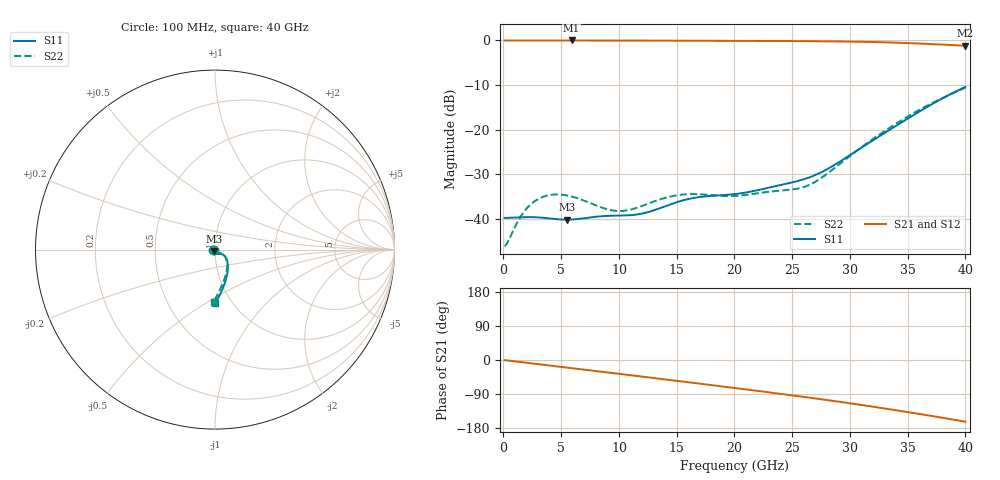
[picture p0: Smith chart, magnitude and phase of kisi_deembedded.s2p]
! B_ts6_L1L6: kisi-fdtd, de-embedded with the 2×thru
# Hz S RI R 50
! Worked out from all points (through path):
!   400 points, 100 MHz to 40 GHz, reference 50 ohm
!   highest |S21| = -0.11 dB at 5.9 GHz (marker M1); lowest = -1.3 dB at 40 GHz (marker M2)
!   group delay of S21, straight-line fit = 11.1 ps
!   lowest |S11| = -40.1 dB at 5.5 GHz (marker M3), VSWR 1.02, Z = 49.6 - j0.887 ohm
!   |S11| at or under -10 dB: start of sweep to end of sweep
!   |S22| runs from -46.0 to -10.6 dB; largest |S21 - S12| = 4.4e-06
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1e8  -0.0104 -0.000241  0.9872 -0.00624  0.9872 -0.00624  -0.00498 -0.000563
4e8  -0.0103 -0.000959  0.9869 -0.0249  0.9869 -0.0249  -0.00519 -0.00223
1.5e9  -0.00994 -0.00345  0.9829 -0.0934  0.9829 -0.0934  -0.00788 -0.00734
2.5e9  -0.00911 -0.00534  0.9751 -0.1554  0.9751 -0.1554  -0.0118 -0.00953
3.9e9  -0.00715 -0.00733  0.9576 -0.2413  0.9576 -0.2413  -0.0165 -0.00835
5.5e9  -0.00422 -0.00894  0.9283 -0.3372  0.9283 -0.3372  -0.018 -0.00396
5.9e9  -0.00351 -0.00928  0.9195 -0.3608  0.9195 -0.3608  -0.0177 -0.00288
6.8e9  -0.00215 -0.00994  0.8972 -0.4129  0.8972 -0.4129  -0.0164 -0.000932
8.8e9  -0.00114 -0.0108  0.8366 -0.5237  0.8366 -0.5237  -0.0131 0.000214
1e10  -0.00219 -0.0108  0.7933 -0.586  0.7933 -0.586  -0.0123 -0.000802
1.18e10  -0.00571 -0.00989  0.7195 -0.6726  0.7195 -0.6726  -0.0134 -0.00315
1.34e10  -0.00976 -0.00872  0.646 -0.742  0.646 -0.742  -0.0156 -0.00502
1.59e10  -0.0146 -0.00801  0.5172 -0.8354  0.5172 -0.8354  -0.0175 -0.00746
2.01e10  -0.0117 -0.0151  0.267 -0.9422  0.267 -0.9422  -0.0101 -0.0151
2.27e10  -0.00329 -0.0219  0.0979 -0.9709  0.0979 -0.9709  -0.0017 -0.02
2.52e10  0.00842 -0.0248  -0.0697 -0.9693  -0.0697 -0.9693  0.00847 -0.0199
2.67e10  0.0174 -0.0244  -0.1713 -0.9538  -0.1713 -0.9538  0.017 -0.0182
2.81e10  0.0275 -0.0241  -0.2663 -0.9285  -0.2663 -0.9285  0.0274 -0.0179
3.01e10  0.0445 -0.0286  -0.4 -0.8722  -0.4 -0.8722  0.0454 -0.0256
3.34e10  0.0693 -0.0703  -0.6003 -0.722  -0.6003 -0.722  0.0673 -0.0792
3.68e10  0.059 -0.1727  -0.7507 -0.502  -0.7507 -0.502  0.0456 -0.1827
4e10  0.00121 -0.2995  -0.8232 -0.253  -0.8232 -0.253  -0.00747 -0.2937
